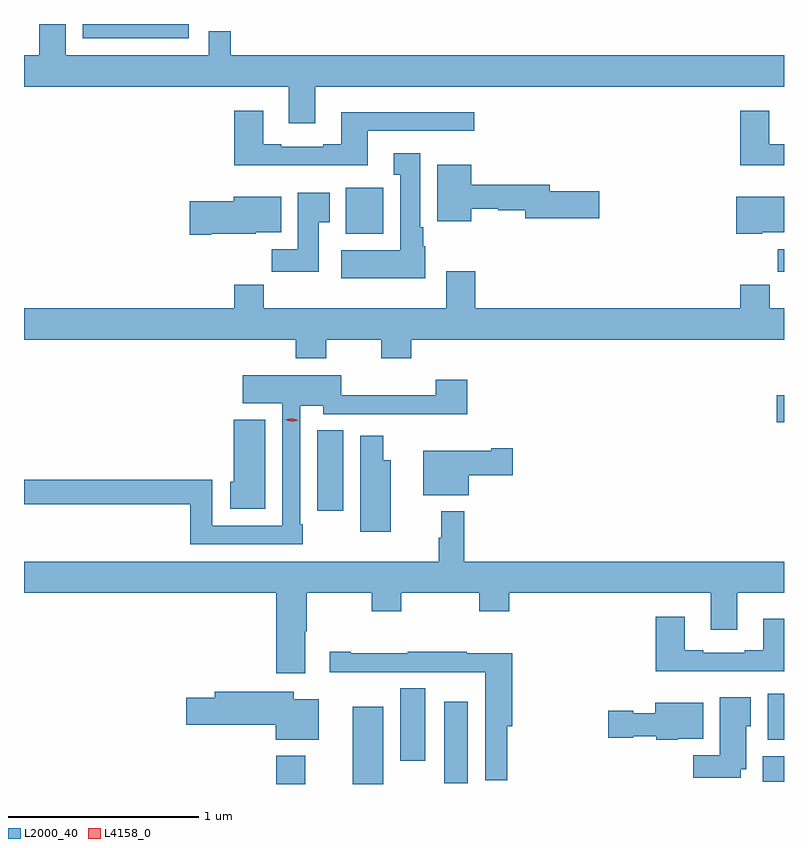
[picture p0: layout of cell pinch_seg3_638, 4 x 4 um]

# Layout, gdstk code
import gdstk
lib = gdstk.Library(unit=1e-6, precision=1e-09)
def R(c, l, rs):  # rectangles x0, y0, x1, y1
    for r in rs: c.add(gdstk.rectangle(r[:2], r[2:], *l))
def P(c, l, *ps):  # polygons
    for p in ps: c.add(gdstk.Polygon(p, *l))
L2000_40 = (2000, 40)
L4158_0 = (4158, 0)

pinch_seg3_638 = lib.new_cell('pinch_seg3_638')
R(pinch_seg3_638, L2000_40, [(1042.265,675.933,1042.417,676.081), (1042.667,675.933,1042.828,676.339), (1043.15,675.936,1043.272,676.366), (1044.824,675.944,1044.937,676.078), (1042.916,676.056,1043.05,676.436), (1044.851,676.166,1044.937,676.408), (1042.481,677.37,1042.618,677.795), (1044.9,677.837,1044.937,677.979), (1044.904,678.63,1044.937,678.748), (1042.631,678.83,1042.828,679.072), (1041.246,679.857,1041.804,679.933)])
P(pinch_seg3_638, L2000_40, [(1042.471,679.604),(1044.937,679.604),(1044.937,679.768),(1042.025,679.768),(1042.025,679.895),(1041.909,679.895),(1041.909,679.768),(1041.157,679.768),(1041.157,679.933),(1041.018,679.933),(1041.018,679.768),(1040.937,679.768),(1040.937,679.604),(1042.331,679.604),(1042.331,679.41),(1042.471,679.41)],
  [(1042.747,679.371),(1043.308,679.371),(1043.308,679.468),(1042.607,679.468),(1042.607,679.3),(1042.511,679.3),(1042.511,679.287),(1042.291,679.287),(1042.291,679.3),(1042.195,679.3),(1042.195,679.477),(1042.043,679.477),(1042.043,679.19),(1042.747,679.19)],
  [(1044.937,679.3),(1044.859,679.3),(1044.859,679.477),(1044.707,679.477),(1044.707,679.19),(1044.937,679.19)],
  [(1043.05,678.762),(1043.038,678.762),(1043.038,678.862),(1043.023,678.862),(1043.023,679.252),(1042.883,679.252),(1042.883,679.139),(1042.916,679.139),(1042.916,678.742),(1042.607,678.742),(1042.607,678.596),(1043.05,678.596)],
  [(1043.29,678.96),(1043.433,678.96),(1043.433,678.952),(1043.576,678.952),(1043.576,678.91),(1043.965,678.91),(1043.965,679.052),(1043.704,679.052),(1043.704,679.088),(1043.29,679.088),(1043.29,679.192),(1043.111,679.192),(1043.111,678.896),(1043.29,678.896)],
  [(1042.489,678.889),(1042.546,678.889),(1042.546,679.045),(1042.379,679.045),(1042.379,678.748),(1042.24,678.748),(1042.24,678.63),(1042.489,678.63)],
  [(1041.922,678.83),(1042.158,678.83),(1042.158,678.836),(1042.291,678.836),(1042.291,679.024),(1042.04,679.024),(1042.04,679.001),(1041.81,679.001),(1041.81,678.823),(1041.922,678.823)],
  [(1044.822,678.836),(1044.937,678.836),(1044.937,679.024),(1044.686,679.024),(1044.686,678.83),(1044.822,678.83)],
  [(1042.527,678.272),(1042.816,678.272),(1042.816,678.173),(1042.976,678.173),(1042.976,678.272),(1044.937,678.272),(1044.937,678.436),(1044.863,678.436),(1044.863,678.56),(1044.707,678.56),(1044.707,678.436),(1043.312,678.436),(1043.312,678.631),(1043.159,678.631),(1043.159,678.436),(1042.199,678.436),(1042.199,678.56),(1042.043,678.56),(1042.043,678.436),(1040.937,678.436),(1040.937,678.272),(1042.367,678.272),(1042.367,678.173),(1042.527,678.173)],
  [(1042.405,677.299),(1042.392,677.299),(1042.392,677.924),(1042.512,677.924),(1042.512,677.88),(1043.021,677.88),(1043.021,677.879),(1043.27,677.879),(1043.27,678.061),(1043.105,678.061),(1043.105,677.978),(1042.608,677.978),(1042.608,678.085),(1042.089,678.085),(1042.089,677.936),(1042.296,677.936),(1042.296,677.292),(1041.927,677.292),(1041.927,677.534),(1040.937,677.534),(1040.937,677.406),(1041.811,677.406),(1041.811,677.196),(1042.405,677.196)],
  [(1042.207,677.851),(1042.04,677.851),(1042.04,677.523),(1042.022,677.523),(1042.022,677.381),(1042.207,677.381)],
  [(1042.867,677.638),(1042.828,677.638),(1042.828,677.767),(1042.706,677.767),(1042.706,677.261),(1042.867,677.261)],
  [(1043.278,677.557),(1043.509,677.557),(1043.509,677.699),(1043.396,677.699),(1043.396,677.686),(1043.039,677.686),(1043.039,677.453),(1043.278,677.453)],
  [(1042.417,676.736),(1042.425,676.736),(1042.425,676.94),(1042.768,676.94),(1042.768,676.841),(1042.923,676.841),(1042.923,676.94),(1043.332,676.94),(1043.332,676.841),(1043.492,676.841),(1043.492,676.94),(1044.551,676.94),(1044.551,676.746),(1044.691,676.746),(1044.691,676.94),(1044.937,676.94),(1044.937,677.104),(1043.255,677.104),(1043.255,677.368),(1043.134,677.368),(1043.134,677.228),(1043.119,677.228),(1043.119,677.104),(1040.937,677.104),(1040.937,676.94),(1042.265,676.94),(1042.265,676.515),(1042.417,676.515)],
  [(1044.937,676.804),(1044.827,676.804),(1044.827,676.636),(1044.731,676.636),(1044.731,676.623),(1044.511,676.623),(1044.511,676.636),(1044.415,676.636),(1044.415,676.813),(1044.263,676.813),(1044.263,676.526),(1044.937,676.526)],
  [(1043.48,676.238),(1043.507,676.238),(1043.507,676.62),(1043.267,676.62),(1043.267,676.63),(1042.957,676.63),(1042.957,676.62),(1042.657,676.62),(1042.657,676.63),(1042.545,676.63),(1042.545,676.52),(1042.82,676.52),(1042.82,676.521),(1043.154,676.521),(1043.154,676.52),(1043.364,676.52),(1043.364,675.954),(1043.48,675.954)],
  [(1042.489,676.378),(1042.356,676.378),(1042.356,676.418),(1041.941,676.418),(1041.941,676.388),(1041.792,676.388),(1041.792,676.246),(1042.262,676.246),(1042.262,676.166),(1042.489,676.166)],
  [(1044.709,676.01),(1044.739,676.01),(1044.739,676.236),(1044.763,676.236),(1044.763,676.39),(1044.599,676.39),(1044.599,676.084),(1044.46,676.084),(1044.46,675.966),(1044.709,675.966)],
  [(1044.378,676.172),(1044.511,676.172),(1044.511,676.36),(1044.26,676.36),(1044.26,676.306),(1044.144,676.306),(1044.144,676.319),(1044.012,676.319),(1044.012,676.177),(1044.144,676.177),(1044.144,676.184),(1044.264,676.184),(1044.264,676.166),(1044.378,676.166)])
P(pinch_seg3_638, L4158_0, [(1042.345,677.839),(1042.31,677.849),(1042.31,677.849),(1042.31,677.85),(1042.345,677.859),(1042.38,677.848),(1042.38,677.848),(1042.38,677.848)])

lib.write_gds('pinch_seg3_638.gds')
